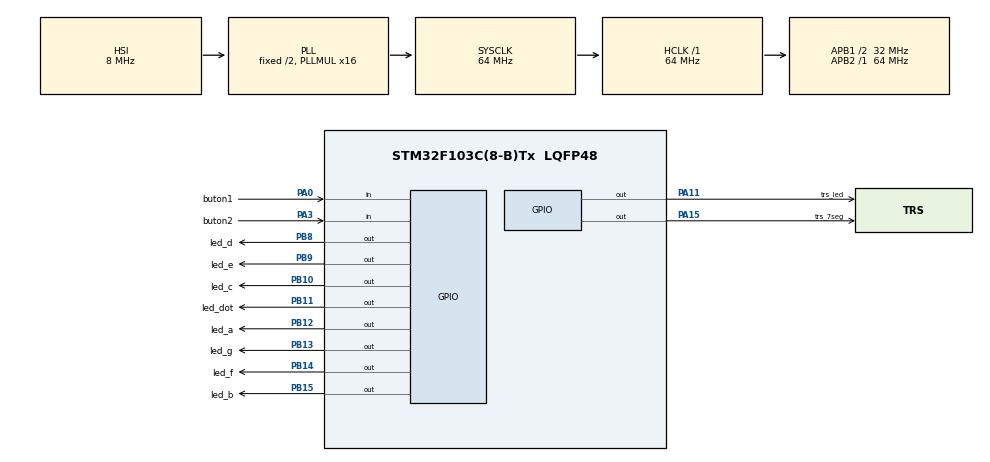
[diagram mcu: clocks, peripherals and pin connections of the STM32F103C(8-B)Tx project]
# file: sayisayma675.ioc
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Mcu.Family=STM32F1
Mcu.Name=STM32F103C(8-B)Tx
Mcu.Package=LQFP48
NVIC.PriorityGroup=NVIC_PRIORITYGROUP_4
PA0-WKUP.GPIO_Label=buton1
PA0-WKUP.Signal=GPIO_Input
PA11.GPIO_Label=trs_led
PA11.Signal=GPIO_Output
PA15.GPIO_Label=trs_7seg
PA15.Signal=GPIO_Output
PA3.GPIO_Label=buton2
PA3.Signal=GPIO_Input
PB10.GPIO_Label=led_c
PB10.Signal=GPIO_Output
PB11.GPIO_Label=led_dot
PB11.Signal=GPIO_Output
PB12.GPIO_Label=led_a
PB12.Signal=GPIO_Output
PB13.GPIO_Label=led_g
PB13.Signal=GPIO_Output
PB14.GPIO_Label=led_f
PB14.Signal=GPIO_Output
PB15.GPIO_Label=led_b
PB15.Signal=GPIO_Output
PB8.GPIO_Label=led_d
PB8.Signal=GPIO_Output
PB9.GPIO_Label=led_e
PB9.Signal=GPIO_Output
ProjectManager.HeapSize=0x200
ProjectManager.StackSize=0x400
ProjectManager.TargetToolchain=STM32CubeIDE
RCC.AHBFreq_Value=64000000
RCC.APB1CLKDivider=RCC_HCLK_DIV2
RCC.APB1Freq_Value=32000000
RCC.APB1TimFreq_Value=64000000
RCC.APB2Freq_Value=64000000
RCC.APB2TimFreq_Value=64000000
RCC.HCLKFreq_Value=64000000
RCC.PLLMUL=RCC_PLL_MUL16
RCC.SYSCLKFreq_VALUE=64000000
RCC.SYSCLKSource=RCC_SYSCLKSOURCE_PLLCLK
RCC.USBFreq_Value=64000000
VP_SYS_VS_ND.Mode=No_Debug
board=custom

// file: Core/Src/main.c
/* USER CODE BEGIN Header */
/**
  ******************************************************************************
  * @file           : main.c
  * @brief          : Main program body
  ******************************************************************************
  * @attention
  *
  * Copyright (c) 2026 STMicroelectronics.
  * All rights reserved.
  *
  * This software is licensed under terms that can be found in the LICENSE file
  * in the root directory of this software component.
  * If no LICENSE file comes with this software, it is provided AS-IS.
  *
  ******************************************************************************
  */
/* USER CODE END Header */
#include "main.h"

/* USER CODE BEGIN PD */
uint8_t counter = 0; //counter variable

const uint8_t segments[10][7] = { //array for 7 segment display
        //a  b  c  d  e  f  g
        { 1, 1, 1, 1, 1, 1, 0 }, // 0
        { 0, 1, 1, 0, 0, 0, 0 }, // 1
        { 1, 1, 0, 1, 1, 0, 1 }, // 2
        { 1, 1, 1, 1, 0, 0, 1 }, // 3
        { 0, 1, 1, 0, 0, 1, 1 }, // 4
        { 1, 0, 1, 1, 0, 1, 1 }, // 5
        { 1, 0, 1, 1, 1, 1, 1 }, // 6
        { 1, 1, 1, 0, 0, 0, 0 }, // 7
        { 1, 1, 1, 1, 1, 1, 1 }, // 8
        { 1, 1, 1, 1, 0, 1, 1 }, // 9
};

/* USER CODE END PD */

void SystemClock_Config(void);
static void MX_GPIO_Init(void);

/* USER CODE BEGIN 0 */
void Display_Digit(uint8_t digit)
{
    // Segment encoding: {a, b, c, d, e, f, g}
    // Common anode assumed (SET = segment ON)
    // Adjust GPIO_PIN_SET/RESET if common cathode

    HAL_GPIO_WritePin(GPIOB, led_a_Pin, segments[digit][0] ? GPIO_PIN_SET : GPIO_PIN_RESET);
    HAL_GPIO_WritePin(GPIOB, led_b_Pin, segments[digit][1] ? GPIO_PIN_SET : GPIO_PIN_RESET);
    HAL_GPIO_WritePin(GPIOB, led_c_Pin, segments[digit][2] ? GPIO_PIN_SET : GPIO_PIN_RESET);
    HAL_GPIO_WritePin(GPIOB, led_d_Pin, segments[digit][3] ? GPIO_PIN_SET : GPIO_PIN_RESET);
    HAL_GPIO_WritePin(GPIOB, led_e_Pin, segments[digit][4] ? GPIO_PIN_SET : GPIO_PIN_RESET);
    HAL_GPIO_WritePin(GPIOB, led_f_Pin, segments[digit][5] ? GPIO_PIN_SET : GPIO_PIN_RESET);
    HAL_GPIO_WritePin(GPIOB, led_g_Pin, segments[digit][6] ? GPIO_PIN_SET : GPIO_PIN_RESET);
}

/* USER CODE END 0 */

int main(void)
{

  /* MCU Configuration--------------------------------------------------------*/

  /* Reset of all peripherals, Initializes the Flash interface and the Systick. */
  HAL_Init();

  /* Configure the system clock */
  SystemClock_Config();

  /* Initialize all configured peripherals */
  MX_GPIO_Init();
  /* USER CODE BEGIN 2 */
  HAL_Delay(500);
  HAL_GPIO_WritePin(trs_7seg_GPIO_Port, trs_7seg_Pin, GPIO_PIN_SET);
  Display_Digit(counter);
  /* USER CODE END 2 */

  /* Infinite loop */
  /* USER CODE BEGIN WHILE */
  while (1)
  {
      //Count UP
      if (HAL_GPIO_ReadPin(buton2_GPIO_Port, buton2_Pin) == GPIO_PIN_RESET)
      {
          HAL_Delay(20); // debounce
          if (HAL_GPIO_ReadPin(buton2_GPIO_Port, buton2_Pin) == GPIO_PIN_RESET)
          {
              counter++;
              if (counter > 9) counter = 0;

              // Wait for button release
              while (HAL_GPIO_ReadPin(buton2_GPIO_Port, buton2_Pin) == GPIO_PIN_RESET); //enter a while loop for release(not suitable for industrial code)
              HAL_Delay(20);
              Display_Digit(counter);
          }
      }

      // Count DOWN
      if (HAL_GPIO_ReadPin(buton1_GPIO_Port, buton1_Pin) == GPIO_PIN_RESET)
      {
          HAL_Delay(20); // debounce
          if (HAL_GPIO_ReadPin(buton1_GPIO_Port, buton1_Pin) == GPIO_PIN_RESET)
          {
              if (counter == 0) counter = 9;
              else counter--;

              // Wait for button release
              while (HAL_GPIO_ReadPin(buton1_GPIO_Port, buton1_Pin) == GPIO_PIN_RESET); //enter a while loop for release(not suitable for industrial code)
              HAL_Delay(20);
              Display_Digit(counter);
          }
      }

      /* USER CODE END WHILE */
  }
}

void SystemClock_Config(void)
{
  RCC_OscInitTypeDef RCC_OscInitStruct = {0};
  RCC_ClkInitTypeDef RCC_ClkInitStruct = {0};

  /** Initializes the RCC Oscillators according to the specified parameters
  * in the RCC_OscInitTypeDef structure.
  */
  RCC_OscInitStruct.OscillatorType = RCC_OSCILLATORTYPE_HSI;
  RCC_OscInitStruct.HSIState = RCC_HSI_ON;
  RCC_OscInitStruct.HSICalibrationValue = RCC_HSICALIBRATION_DEFAULT;
  RCC_OscInitStruct.PLL.PLLState = RCC_PLL_ON;
  RCC_OscInitStruct.PLL.PLLSource = RCC_PLLSOURCE_HSI_DIV2;
  RCC_OscInitStruct.PLL.PLLMUL = RCC_PLL_MUL16;
  if (HAL_RCC_OscConfig(&RCC_OscInitStruct) != HAL_OK)
  {
    Error_Handler();
  }

  /** Initializes the CPU, AHB and APB buses clocks
  */
  RCC_ClkInitStruct.ClockType = RCC_CLOCKTYPE_HCLK|RCC_CLOCKTYPE_SYSCLK
                              |RCC_CLOCKTYPE_PCLK1|RCC_CLOCKTYPE_PCLK2;
  RCC_ClkInitStruct.SYSCLKSource = RCC_SYSCLKSOURCE_PLLCLK;
  RCC_ClkInitStruct.AHBCLKDivider = RCC_SYSCLK_DIV1;
  RCC_ClkInitStruct.APB1CLKDivider = RCC_HCLK_DIV2;
  RCC_ClkInitStruct.APB2CLKDivider = RCC_HCLK_DIV1;

  if (HAL_RCC_ClockConfig(&RCC_ClkInitStruct, FLASH_LATENCY_2) != HAL_OK)
  {
    Error_Handler();
  }
}

static void MX_GPIO_Init(void)
{
  GPIO_InitTypeDef GPIO_InitStruct = {0};

  /* GPIO Ports Clock Enable */
  __HAL_RCC_GPIOA_CLK_ENABLE();
  __HAL_RCC_GPIOB_CLK_ENABLE();

  /*Configure GPIO pin Output Level */
  HAL_GPIO_WritePin(GPIOB, led_c_Pin|led_dot_Pin|led_a_Pin|led_g_Pin
                          |led_f_Pin|led_b_Pin|led_d_Pin|led_e_Pin, GPIO_PIN_RESET);

  /*Configure GPIO pin Output Level */
  HAL_GPIO_WritePin(GPIOA, trs_led_Pin|trs_7seg_Pin, GPIO_PIN_RESET);

  /*Configure GPIO pins : buton1_Pin buton2_Pin */
  GPIO_InitStruct.Pin = buton1_Pin|buton2_Pin;
  GPIO_InitStruct.Mode = GPIO_MODE_INPUT;
  GPIO_InitStruct.Pull = GPIO_NOPULL;
  HAL_GPIO_Init(GPIOA, &GPIO_InitStruct);

  /*Configure GPIO pins : led_c_Pin led_dot_Pin led_a_Pin led_g_Pin
                           led_f_Pin led_b_Pin led_d_Pin led_e_Pin */
  GPIO_InitStruct.Pin = led_c_Pin|led_dot_Pin|led_a_Pin|led_g_Pin
                          |led_f_Pin|led_b_Pin|led_d_Pin|led_e_Pin;
  GPIO_InitStruct.Mode = GPIO_MODE_OUTPUT_PP;
  GPIO_InitStruct.Pull = GPIO_NOPULL;
  GPIO_InitStruct.Speed = GPIO_SPEED_FREQ_LOW;
  HAL_GPIO_Init(GPIOB, &GPIO_InitStruct);

  /*Configure GPIO pins : trs_led_Pin trs_7seg_Pin */
  GPIO_InitStruct.Pin = trs_led_Pin|trs_7seg_Pin;
  GPIO_InitStruct.Mode = GPIO_MODE_OUTPUT_PP;
  GPIO_InitStruct.Pull = GPIO_NOPULL;
  GPIO_InitStruct.Speed = GPIO_SPEED_FREQ_LOW;
  HAL_GPIO_Init(GPIOA, &GPIO_InitStruct);

}

void Error_Handler(void)
{
  __disable_irq();
  while (1)
  {
  }
}
